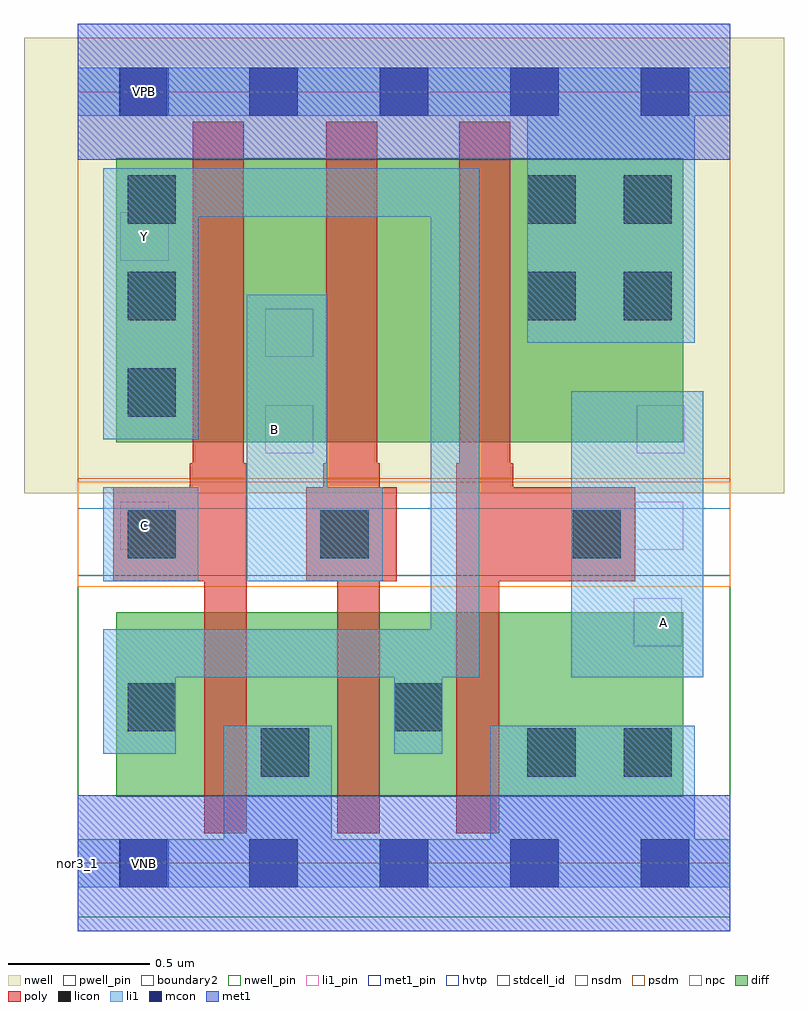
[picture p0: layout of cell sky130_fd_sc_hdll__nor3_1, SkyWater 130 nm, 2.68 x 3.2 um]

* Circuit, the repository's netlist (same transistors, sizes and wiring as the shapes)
* Copyright 2020 The SkyWater PDK Authors
*
* Licensed under the Apache License, Version 2.0 (the "License");
* you may not use this file except in compliance with the License.
* You may obtain a copy of the License at
*
*     https://www.apache.org/licenses/LICENSE-2.0
*
* Unless required by applicable law or agreed to in writing, software
* distributed under the License is distributed on an "AS IS" BASIS,
* WITHOUT WARRANTIES OR CONDITIONS OF ANY KIND, either express or implied.
* See the License for the specific language governing permissions and
* limitations under the License.
*
* SPDX-License-Identifier: Apache-2.0

.SUBCKT sky130_fd_sc_hdll__nor3_1 A B C VGND VNB VPB VPWR Y
*.PININFO A:I B:I C:I VGND:I VNB:I VPB:I VPWR:I Y:O
MMP0 VPWR A sndPA VPB sky130_fd_pr__pfet_01v8_hvt m=1 w=1.0U l=0.18U mult=1 sa=0.265
+ sb=0.265 sd=0.28 area=0.063 perim=1.14
MMP1 sndPA B sndPB VPB sky130_fd_pr__pfet_01v8_hvt m=1 w=1.0U l=0.18U mult=1 sa=0.265
+ sb=0.265 sd=0.28 area=0.063 perim=1.14
MMP2 sndPB C Y VPB sky130_fd_pr__pfet_01v8_hvt m=1 w=1.0U l=0.18U mult=1 sa=0.265
+ sb=0.265 sd=0.28 area=0.063 perim=1.14
MMN0 Y A VGND VNB sky130_fd_pr__nfet_01v8 m=1 w=0.65U l=0.15U mult=1 sa=0.265 sb=0.265
+ sd=0.28 area=0.063 perim=1.14
MMN1 Y B VGND VNB sky130_fd_pr__nfet_01v8 m=1 w=0.65U l=0.15U mult=1 sa=0.265 sb=0.265
+ sd=0.28 area=0.063 perim=1.14
MMN2 Y C VGND VNB sky130_fd_pr__nfet_01v8 m=1 w=0.65U l=0.15U mult=1 sa=0.265 sb=0.265
+ sd=0.28 area=0.063 perim=1.14
.ENDS sky130_fd_sc_hdll__nor3_1

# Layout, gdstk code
import gdstk
lib = gdstk.Library(unit=1e-6, precision=1e-09)
def R(c, l, rs):  # rectangles x0, y0, x1, y1
    for r in rs: c.add(gdstk.rectangle(r[:2], r[2:], *l))
def A(c, l, x, y, w, h, nx, ny, dx, dy):  # array of equal rectangles
    R(c, l, [(x+i*dx, y+j*dy, x+i*dx+w, y+j*dy+h) for i in range(nx) for j in range(ny)])
def P(c, l, *ps):  # polygons
    for p in ps: c.add(gdstk.Polygon(p, *l))
nwell_pin = (64, 16)
nwell = (64, 20)
diff = (65, 20)
poly = (66, 20)
licon = (66, 44)
li1_pin = (67, 16)
li1 = (67, 20)
mcon = (67, 44)
met1_pin = (68, 16)
met1 = (68, 20)
hvtp = (78, 44)
stdcell_id = (81, 4)
nsdm = (93, 44)
psdm = (94, 20)
npc = (95, 20)
pwell_pin = (122, 16)
boundary2 = (236, 0)

sky130_fd_sc_hdll__nor3_ = lib.new_cell('sky130_fd_sc_hdll__nor3_1')
R(sky130_fd_sc_hdll__nor3_, nwell_pin, [(0.15,2.635,0.32,2.805)])
R(sky130_fd_sc_hdll__nor3_, nwell, [(-0.19,1.305,2.49,2.91)])
R(sky130_fd_sc_hdll__nor3_, diff, [(0.135,0.235,2.135,0.885), (0.135,1.485,2.135,2.485)])
P(sky130_fd_sc_hdll__nor3_, poly, [(0.595,1.41),(0.585,1.41),(0.585,2.615),(0.405,2.615),(0.405,1.41),(0.395,1.41),(0.395,1.325),(0.125,1.325),(0.125,0.995),(0.445,0.995),(0.445,0.105),(0.595,0.105)],
  [(1.125,1.325),(1.065,1.325),(1.065,1.41),(1.055,1.41),(1.055,2.615),(0.875,2.615),(0.875,1.41),(0.865,1.41),(0.865,1.325),(0.805,1.325),(0.805,0.995),(0.915,0.995),(0.915,0.105),(1.065,0.105),(1.065,0.995),(1.125,0.995)],
  [(1.965,1.325),(1.535,1.325),(1.535,1.41),(1.525,1.41),(1.525,2.615),(1.345,2.615),(1.345,1.41),(1.335,1.41),(1.335,0.105),(1.485,0.105),(1.485,0.995),(1.965,0.995)])
A(sky130_fd_sc_hdll__nor3_, licon, 0.175, 1.575, 0.17, 0.17, 1, 3, 0, 0.34)
R(sky130_fd_sc_hdll__nor3_, licon, [(0.645,0.305,0.815,0.475), (1.585,0.305,1.755,0.475), (1.925,0.305,2.095,0.475), (0.175,0.465,0.345,0.635), (1.115,0.465,1.285,0.635), (0.175,1.075,0.345,1.245), (0.855,1.075,1.025,1.245), (1.745,1.075,1.915,1.245), (1.585,1.915,1.755,2.085), (1.925,1.915,2.095,2.085), (1.585,2.255,1.755,2.425), (1.925,2.255,2.095,2.425)])
R(sky130_fd_sc_hdll__nor3_, li1_pin, [(1.96,0.765,2.13,0.935), (0.15,1.105,0.32,1.275), (1.965,1.105,2.135,1.275), (0.66,1.445,0.83,1.615), (1.97,1.445,2.14,1.615), (0.66,1.785,0.83,1.955), (0.15,2.125,0.32,2.295)])
R(sky130_fd_sc_hdll__nor3_, li1, [(1.74,0.655,2.205,1.665), (0.09,0.995,0.425,1.325)])
P(sky130_fd_sc_hdll__nor3_, li1, [(2.3,0.085),(2.175,0.085),(2.175,0.485),(1.455,0.485),(1.455,0.085),(0.895,0.085),(0.895,0.485),(0.515,0.485),(0.515,0.085),(0,0.085),(0,-0.085),(2.3,-0.085)],
  [(2.3,2.805),(0,2.805),(0,2.635),(1.585,2.635),(1.585,1.835),(2.175,1.835),(2.175,2.635),(2.3,2.635)],
  [(1.075,1.325),(0.88,1.325),(0.88,2.005),(0.595,2.005),(0.595,0.995),(1.075,0.995)],
  [(1.415,2.45),(0.09,2.45),(0.09,1.495),(0.425,1.495),(0.425,2.28),(1.245,2.28),(1.245,0.825),(0.09,0.825),(0.09,0.385),(0.345,0.385),(0.345,0.655),(1.115,0.655),(1.115,0.385),(1.285,0.385),(1.285,0.655),(1.415,0.655)])
A(sky130_fd_sc_hdll__nor3_, mcon, 0.145, -0.085, 0.17, 0.17, 5, 2, 0.46, 2.72)
R(sky130_fd_sc_hdll__nor3_, met1_pin, [(0.15,-0.085,0.32,0.085), (0.15,2.635,0.32,2.805)])
R(sky130_fd_sc_hdll__nor3_, met1, [(0,-0.24,2.3,0.24), (0,2.48,2.3,2.96)])
R(sky130_fd_sc_hdll__nor3_, hvtp, [(0,1.25,2.3,2.72)])
R(sky130_fd_sc_hdll__nor3_, stdcell_id, [(0,0,2.3,2.72)])
R(sky130_fd_sc_hdll__nor3_, nsdm, [(0,-0.19,2.3,1.015)])
R(sky130_fd_sc_hdll__nor3_, psdm, [(0,1.355,2.3,2.91)])
R(sky130_fd_sc_hdll__nor3_, npc, [(0,0.975,2.3,1.345)])
R(sky130_fd_sc_hdll__nor3_, pwell_pin, [(0.15,-0.085,0.32,0.085)])
R(sky130_fd_sc_hdll__nor3_, boundary2, [(0,0,2.3,2.72)])
sky130_fd_sc_hdll__nor3_.add(gdstk.Label('C', (0.235,1.19), layer=67, texttype=5))
sky130_fd_sc_hdll__nor3_.add(gdstk.Label('Y', (0.235,2.21), layer=67, texttype=5))
sky130_fd_sc_hdll__nor3_.add(gdstk.Label('A', (2.065,0.85), layer=67, texttype=5))
sky130_fd_sc_hdll__nor3_.add(gdstk.Label('B', (0.695,1.53), layer=67, texttype=5))
sky130_fd_sc_hdll__nor3_.add(gdstk.Label('VPB', (0.235,2.72), layer=64, texttype=5))
sky130_fd_sc_hdll__nor3_.add(gdstk.Label('VNB', (0.235,0), layer=64, texttype=59))
sky130_fd_sc_hdll__nor3_.add(gdstk.Label('VGND', (0.235,0), layer=68, texttype=5))
sky130_fd_sc_hdll__nor3_.add(gdstk.Label('VPWR', (0.235,2.72), layer=68, texttype=5))
sky130_fd_sc_hdll__nor3_.add(gdstk.Label('nor3_1', (0,0), layer=83, texttype=44))

lib.write_gds('sky130_fd_sc_hdll__nor3_1.gds')
